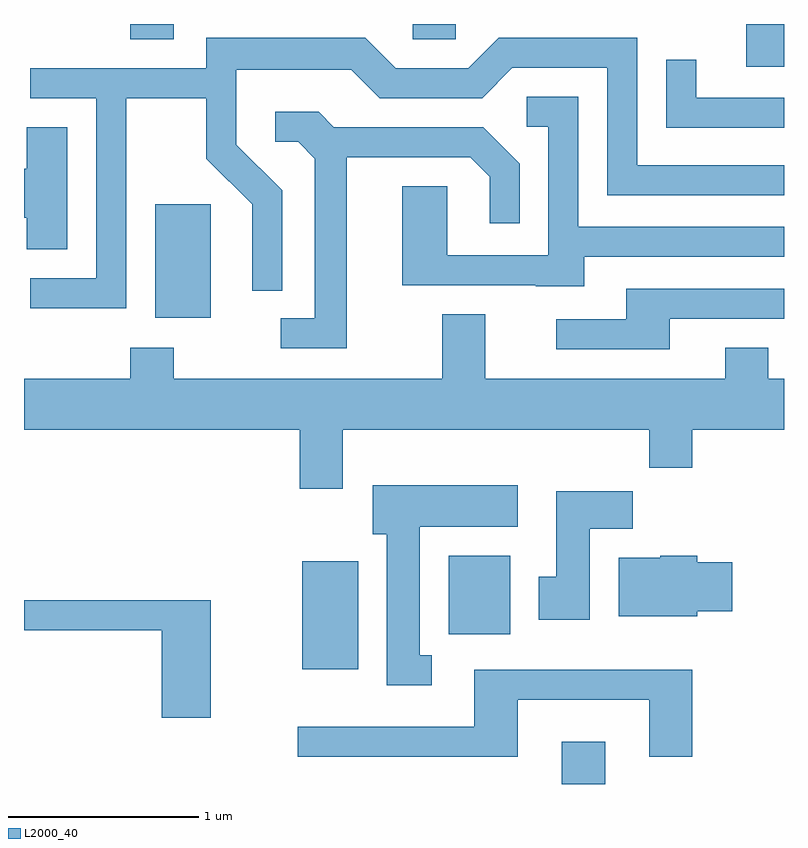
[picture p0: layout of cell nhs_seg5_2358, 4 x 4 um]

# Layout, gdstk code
import gdstk
lib = gdstk.Library(unit=1e-6, precision=1e-09)
def R(c, l, rs):  # rectangles x0, y0, x1, y1
    for r in rs: c.add(gdstk.rectangle(r[:2], r[2:], *l))
def P(c, l, *ps):  # polygons
    for p in ps: c.add(gdstk.Polygon(p, *l))
L2000_40 = (2000, 40)

nhs_seg5_2358 = lib.new_cell('nhs_seg5_2358')
R(nhs_seg5_2358, L2000_40, [(258.441,1426.072,258.669,1426.294), (257.076,1426.676,257.369,1427.244), (257.846,1426.861,258.169,1427.274), (256.301,1428.526,256.594,1429.124), (259.411,1429.846,259.611,1430.072), (256.171,1429.991,256.399,1430.072), (257.656,1429.991,257.884,1430.072)])
P(nhs_seg5_2358, L2000_40, [(256.149,1429.681),(256.571,1429.681),(256.571,1429.364),(256.811,1429.124),(256.811,1428.668),(256.969,1428.668),(256.969,1429.197),(256.729,1429.437),(256.729,1429.831),(257.334,1429.831),(257.484,1429.681),(258.022,1429.681),(258.182,1429.841),(258.681,1429.841),(258.681,1429.171),(259.611,1429.171),(259.611,1429.329),(258.839,1429.329),(258.839,1429.999),(258.109,1429.999),(257.949,1429.839),(257.567,1429.839),(257.407,1429.999),(256.571,1429.999),(256.571,1429.839),(255.643,1429.839),(255.643,1429.681),(255.991,1429.681),(255.991,1428.734),(255.643,1428.734),(255.643,1428.576),(256.149,1428.576)],
  [(259.611,1429.684),(259.149,1429.684),(259.149,1429.883),(258.991,1429.883),(258.991,1429.526),(259.611,1429.526)],
  [(258.559,1428.846),(259.611,1428.846),(259.611,1429.004),(258.529,1429.004),(258.529,1429.689),(258.258,1429.689),(258.258,1429.531),(258.371,1429.531),(258.371,1428.854),(257.839,1428.854),(257.839,1429.219),(257.601,1429.219),(257.601,1428.696),(258.305,1428.696),(258.305,1428.691),(258.559,1428.691)],
  [(257.309,1429.371),(257.959,1429.371),(258.061,1429.269),(258.061,1429.023),(258.219,1429.023),(258.219,1429.337),(258.027,1429.529),(257.242,1429.529),(257.162,1429.609),(256.933,1429.609),(256.933,1429.451),(257.054,1429.451),(257.141,1429.364),(257.141,1428.524),(256.962,1428.524),(256.962,1428.366),(257.309,1428.366)],
  [(255.839,1429.529),(255.626,1429.529),(255.626,1429.309),(255.611,1429.309),(255.611,1429.051),(255.626,1429.051),(255.626,1428.886),(255.839,1428.886)],
  [(259.009,1428.521),(259.611,1428.521),(259.611,1428.679),(258.781,1428.679),(258.781,1428.519),(258.413,1428.519),(258.413,1428.361),(259.009,1428.361)],
  [(257.289,1427.936),(258.901,1427.936),(258.901,1427.736),(259.129,1427.736),(259.129,1427.936),(259.611,1427.936),(259.611,1428.204),(259.529,1428.204),(259.529,1428.369),(259.301,1428.369),(259.301,1428.204),(258.039,1428.204),(258.039,1428.544),(257.811,1428.544),(257.811,1428.204),(256.399,1428.204),(256.399,1428.369),(256.171,1428.369),(256.171,1428.204),(255.611,1428.204),(255.611,1427.936),(257.061,1427.936),(257.061,1427.626),(257.289,1427.626)],
  [(257.758,1426.749),(257.694,1426.749),(257.694,1427.426),(258.209,1427.426),(258.209,1427.644),(257.446,1427.644),(257.446,1427.386),(257.521,1427.386),(257.521,1426.591),(257.758,1426.591)],
  [(258.589,1427.416),(258.814,1427.416),(258.814,1427.614),(258.411,1427.614),(258.411,1427.164),(258.321,1427.164),(258.321,1426.936),(258.589,1426.936)],
  [(259.154,1426.981),(259.339,1426.981),(259.339,1427.239),(259.154,1427.239),(259.154,1427.274),(258.96,1427.274),(258.96,1427.264),(258.741,1427.264),(258.741,1426.956),(259.154,1426.956)],
  [(256.594,1427.039),(255.611,1427.039),(255.611,1426.881),(256.336,1426.881),(256.336,1426.421),(256.594,1426.421)],
  [(258.209,1426.516),(258.901,1426.516),(258.901,1426.216),(259.129,1426.216),(259.129,1426.674),(257.981,1426.674),(257.981,1426.374),(257.053,1426.374),(257.053,1426.216),(258.209,1426.216)])

lib.write_gds('nhs_seg5_2358.gds')
